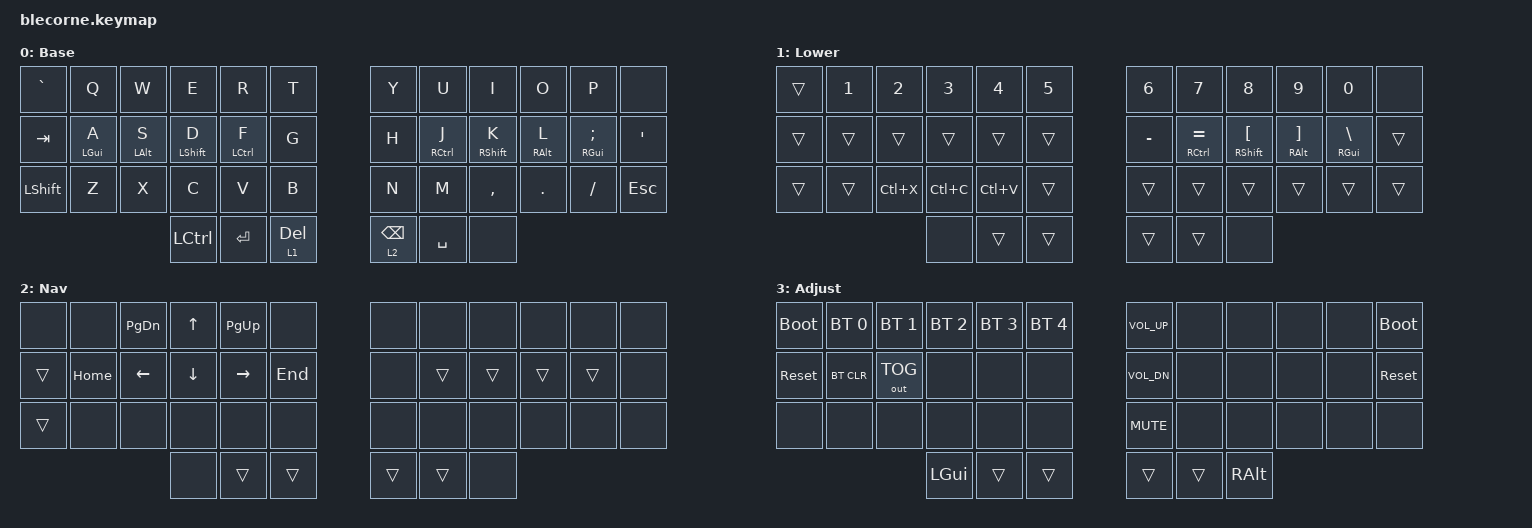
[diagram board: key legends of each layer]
/*
 * Copyright (c) 2020 The ZMK Contributors
 * SPDX-License-Identifier: MIT
 */

#include <behaviors.dtsi>
#include <dt-bindings/zmk/keys.h>
#include <dt-bindings/zmk/bt.h>
#include <dt-bindings/zmk/outputs.h>

/ {
    chosen {
        zmk,physical-layout = &foostan_corne_6col_layout;
        // zmk,physical-layout = &foostan_corne_5col_layout;
    };
};

/*
 * Key positions (foostan Corne 6-column):
 *  0  1  2  3  4  5    6  7  8  9 10 11
 * 12 13 14 15 16 17   18 19 20 21 22 23
 * 24 25 26 27 28 29   30 31 32 33 34 35
 *          36 37 38   39 40 41
 */
#define KEYS_L 0 1 2 3 4 5 12 13 14 15 16 17 24 25 26 27 28 29
#define KEYS_R 6 7 8 9 10 11 18 19 20 21 22 23 30 31 32 33 34 35
#define THUMBS 36 37 38 39 40 41

/* Make the built-in layer-taps behave like QMK's LT with permissive hold */
&lt {
    flavor = "balanced";
    quick-tap-ms = <175>;
};

/ {
    behaviors {
        // Left-hand homerow mods: only trigger hold when the tap key is
        // on the opposite hand (or a thumb), so same-hand rolls stay taps.
        hml: homerow_mod_left {
            compatible = "zmk,behavior-hold-tap";
            #binding-cells = <2>;
            flavor = "balanced";
            tapping-term-ms = <280>;
            quick-tap-ms = <175>;
            require-prior-idle-ms = <150>;
            bindings = <&kp>, <&kp>;
            hold-trigger-key-positions = <KEYS_R THUMBS>;
            hold-trigger-on-release;
        };

        hmr: homerow_mod_right {
            compatible = "zmk,behavior-hold-tap";
            #binding-cells = <2>;
            flavor = "balanced";
            tapping-term-ms = <280>;
            quick-tap-ms = <175>;
            require-prior-idle-ms = <150>;
            bindings = <&kp>, <&kp>;
            hold-trigger-key-positions = <KEYS_L THUMBS>;
            hold-trigger-on-release;
        };
    };

    // Holding lower + raise together activates adjust
    // (replaces QMK's LT(3,...) entries on layers 1 and 2)
    conditional_layers {
        compatible = "zmk,conditional-layers";
        adjust {
            if-layers = <1 2>;
            then-layer = <3>;
        };
    };

    keymap {
        compatible = "zmk,keymap";

        default_layer {
            display-name = "Base";
            bindings = <
&kp GRAVE &kp Q         &kp W         &kp E         &kp R          &kp T    &kp Y &kp U          &kp I          &kp O         &kp P            &none
&kp TAB   &hml LGUI A   &hml LALT S   &hml LSHFT D  &hml LCTRL F   &kp G    &kp H &hmr RCTRL J   &hmr RSHFT K   &hmr RALT L   &hmr RGUI SEMI   &kp SQT
&kp LSHFT &kp Z         &kp X         &kp C         &kp V          &kp B    &kp N &kp M          &kp COMMA      &kp DOT       &kp FSLH         &kp ESC
                                &kp LCTRL &kp RET &lt 1 DEL    &lt 2 BSPC &kp SPACE &none
            >;
        };

        lower_layer {
            display-name = "Lower";
            bindings = <
&trans &kp N1 &kp N2    &kp N3    &kp N4    &kp N5    &kp N6    &kp N7           &kp N8          &kp N9         &kp N0          &none
&trans &trans &trans    &trans    &trans    &trans    &kp MINUS &hmr RCTRL EQUAL &hmr RSHFT LBKT &hmr RALT RBKT &hmr RGUI BSLH  &trans
&trans &trans &kp LC(X) &kp LC(C) &kp LC(V) &trans    &trans    &trans           &trans          &trans         &trans          &trans
                            &none &trans &trans    &trans &trans &none
            >;
        };

        raise_layer {
            display-name = "Nav";
            bindings = <
&none  &none    &kp PG_DN &kp UP   &kp PG_UP &none      &none &none  &none  &none  &none  &none
&trans &kp HOME &kp LEFT  &kp DOWN &kp RIGHT &kp END    &none &trans &trans &trans &trans &none
&trans &none    &none     &none    &none     &none      &none &none  &none  &none  &none  &none
                            &none &trans &trans    &trans &trans &none
            >;
        };

        adjust_layer {
            display-name = "Adjust";
            bindings = <
&bootloader &bt BT_SEL 0 &bt BT_SEL 1 &bt BT_SEL 2 &bt BT_SEL 3 &bt BT_SEL 4    &kp C_VOL_UP &none &none &none &none &bootloader
&sys_reset  &bt BT_CLR   &out OUT_TOG &none        &none        &none           &kp C_VOL_DN &none &none &none &none &sys_reset
&none       &none        &none        &none        &none        &none           &kp C_MUTE   &none &none &none &none &none
                                    &kp LGUI &trans &trans    &trans &trans &kp RALT
            >;
        };
    };
};
